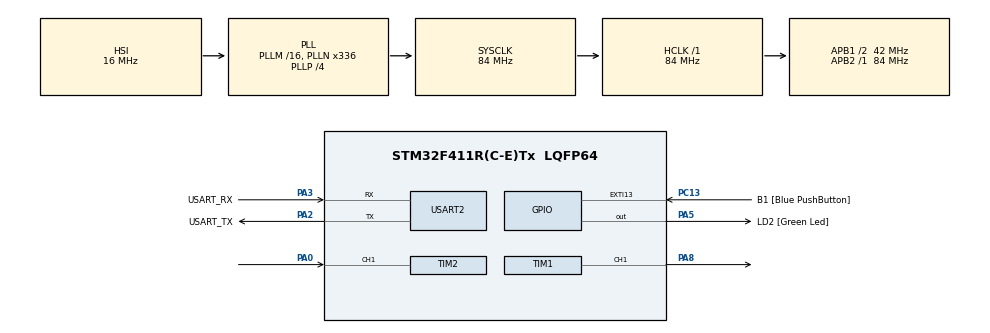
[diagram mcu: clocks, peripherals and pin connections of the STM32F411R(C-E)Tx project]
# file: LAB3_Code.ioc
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Dma.Request0=TIM2_CH1
Dma.TIM2_CH1.0.Direction=DMA_PERIPH_TO_MEMORY
Dma.TIM2_CH1.0.FIFOMode=DMA_FIFOMODE_DISABLE
Dma.TIM2_CH1.0.Instance=DMA1_Stream5
Dma.TIM2_CH1.0.MemDataAlignment=DMA_MDATAALIGN_WORD
Dma.TIM2_CH1.0.MemInc=DMA_MINC_ENABLE
Dma.TIM2_CH1.0.Mode=DMA_CIRCULAR
Dma.TIM2_CH1.0.PeriphDataAlignment=DMA_PDATAALIGN_WORD
Dma.TIM2_CH1.0.PeriphInc=DMA_PINC_DISABLE
Dma.TIM2_CH1.0.Priority=DMA_PRIORITY_LOW
Mcu.Family=STM32F4
Mcu.Name=STM32F411R(C-E)Tx
Mcu.Package=LQFP64
NVIC.DMA1_Stream5_IRQn=true\:0\:0\:false\:false\:true\:false\:true\:true
NVIC.PriorityGroup=NVIC_PRIORITYGROUP_0
PA0-WKUP.Signal=S_TIM2_CH1_ETR
PA13.GPIO_Label=TMS
PA13.Mode=Serial_Wire
PA13.Signal=SYS_JTMS-SWDIO
PA14.GPIO_Label=TCK
PA14.Mode=Serial_Wire
PA14.Signal=SYS_JTCK-SWCLK
PA2.GPIO_Label=USART_TX
PA2.Mode=Asynchronous
PA2.Signal=USART2_TX
PA3.GPIO_Label=USART_RX
PA3.Mode=Asynchronous
PA3.Signal=USART2_RX
PA5.GPIO_Label=LD2 [Green Led]
PA5.Signal=GPIO_Output
PA8.Signal=S_TIM1_CH1
PB3.GPIO_Label=SWO
PB3.Signal=SYS_JTDO-SWO
PC13-ANTI_TAMP.GPIO_Label=B1 [Blue PushButton]
PC13-ANTI_TAMP.GPIO_ModeDefaultEXTI=GPIO_MODE_IT_FALLING
PC13-ANTI_TAMP.Signal=GPXTI13
PC14-OSC32_IN.Mode=LSE-External-Oscillator
PC14-OSC32_IN.Signal=RCC_OSC32_IN
PC15-OSC32_OUT.Mode=LSE-External-Oscillator
PC15-OSC32_OUT.Signal=RCC_OSC32_OUT
PH0\ -\ OSC_IN.Mode=HSE-External-Clock-Source
PH0\ -\ OSC_IN.Signal=RCC_OSC_IN
PH1\ -\ OSC_OUT.Mode=HSE-External-Clock-Source
PH1\ -\ OSC_OUT.Signal=RCC_OSC_OUT
ProjectManager.HeapSize=0x200
ProjectManager.StackSize=0x400
ProjectManager.TargetToolchain=STM32CubeIDE
RCC.48MHZClocksFreq_Value=84000000
RCC.AHBFreq_Value=84000000
RCC.APB1CLKDivider=RCC_HCLK_DIV2
RCC.APB1Freq_Value=42000000
RCC.APB1TimFreq_Value=84000000
RCC.APB2Freq_Value=84000000
RCC.APB2TimFreq_Value=84000000
RCC.CortexFreq_Value=84000000
RCC.FLatency-AdvancedSettings=FLASH_LATENCY_2
RCC.HCLKFreq_Value=84000000
RCC.HSE_VALUE=8000000
RCC.HSI_VALUE=16000000
RCC.PLLN=336
RCC.PLLP=RCC_PLLP_DIV4
RCC.SYSCLKFreq_VALUE=84000000
RCC.SYSCLKSource=RCC_SYSCLKSOURCE_PLLCLK
RCC.VCOOutputFreq_Value=336000000
SH.S_TIM1_CH1.0=TIM1_CH1,PWM Generation1 CH1
SH.S_TIM2_CH1_ETR.0=TIM2_CH1,Input_Capture1_from_TI1
TIM1.Channel-PWM\ Generation1\ CH1=TIM_CHANNEL_1
TIM1.Period=999
TIM1.Prescaler=83
TIM1.Pulse-PWM\ Generation1\ CH1=500
TIM2.Channel-Input_Capture1_from_TI1=TIM_CHANNEL_1
TIM2.Prescaler=83
USART2.VirtualMode=VM_ASYNC
VP_TIM1_VS_ClockSourceINT.Mode=Internal
VP_TIM2_VS_ClockSourceINT.Mode=Internal
board=NUCLEO-F411RE

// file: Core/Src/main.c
/* USER CODE BEGIN Header */
/**
  ******************************************************************************
  * @file           : main.c
  * @brief          : Main program body
  ******************************************************************************
  * @attention
  *
  * Copyright (c) 2023 STMicroelectronics.
  * All rights reserved.
  *
  * This software is licensed under terms that can be found in the LICENSE file
  * in the root directory of this software component.
  * If no LICENSE file comes with this software, it is provided AS-IS.
  *
  ******************************************************************************
  */
/* USER CODE END Header */
#include "main.h"

/* USER CODE BEGIN Includes */
#define IC_BUFFER_SIZE 20
/* USER CODE END Includes */

TIM_HandleTypeDef htim1;
TIM_HandleTypeDef htim2;
DMA_HandleTypeDef hdma_tim2_ch1;

UART_HandleTypeDef huart2;

/* USER CODE BEGIN PV */
uint32_t InputCaptureBuffer[IC_BUFFER_SIZE];
uint8_t MotorSetDuty = 0;
float MotorSetRPM = 0;
float MotorReadRPM = 0;
uint8_t MotorControlEnable = 0;
uint16_t Pulse_Compare = 0;

enum LAB3_state {Initial , Uncontrol, Control};
enum LAB3_state state;

/* USER CODE END PV */

void SystemClock_Config(void);
static void MX_GPIO_Init(void);
static void MX_DMA_Init(void);
static void MX_USART2_UART_Init(void);
static void MX_TIM2_Init(void);
static void MX_TIM1_Init(void);
/* USER CODE BEGIN PFP */
float IC_Calc_Period();
/* USER CODE END PFP */

int main(void)
{

  /* MCU Configuration--------------------------------------------------------*/

  /* Reset of all peripherals, Initializes the Flash interface and the Systick. */
  HAL_Init();

  /* Configure the system clock */
  SystemClock_Config();

  /* Initialize all configured peripherals */
  MX_GPIO_Init();
  MX_DMA_Init();
  MX_USART2_UART_Init();
  MX_TIM2_Init();
  MX_TIM1_Init();
  /* USER CODE BEGIN 2 */
  HAL_TIM_Base_Start(&htim2);
  HAL_TIM_IC_Start_DMA(&htim2, TIM_CHANNEL_1, InputCaptureBuffer, IC_BUFFER_SIZE);

  HAL_TIM_Base_Start(&htim1);
  HAL_TIM_PWM_Start(&htim1, TIM_CHANNEL_1);

  state = Initial;
	/* USER CODE END 2 */

  /* Infinite loop */
  while (1)
  {

    /* USER CODE BEGIN 3 */
	  static uint32_t timestamp = 0;
	  if(HAL_GetTick() >= timestamp){
		  timestamp = HAL_GetTick() + 500; // 2hz

		  switch (state) {
			case Initial:

				if(MotorControlEnable == 0) state = Uncontrol;
				else if(MotorControlEnable == 1) state = Control;

				break;
			case Uncontrol:

				Pulse_Compare = MotorSetDuty * 10;
				__HAL_TIM_SET_COMPARE(&htim1,TIM_CHANNEL_1,Pulse_Compare);
				MotorReadRPM = 60 / (IC_Calc_Period() * 0.000001*768);

				if(MotorControlEnable == 1) state = Control;
				break;
			case Control:
				MotorReadRPM = 60 / (IC_Calc_Period() * 0.000001*768);
				if(MotorReadRPM > MotorSetRPM * 1.02){ //too fast
					Pulse_Compare = Pulse_Compare - 10; // reduce 1% of PWM
					__HAL_TIM_SET_COMPARE(&htim1,TIM_CHANNEL_1,Pulse_Compare);
				}
				else if(MotorReadRPM < MotorSetRPM * 0.98){ // too slow
					Pulse_Compare = Pulse_Compare + 10; //increase 1% of PWM
					__HAL_TIM_SET_COMPARE(&htim1,TIM_CHANNEL_1,Pulse_Compare);
				}

				if(MotorControlEnable == 0) state = Uncontrol;
				break;
		}
	  }
  }
  /* USER CODE END 3 */
}

void SystemClock_Config(void)
{
  RCC_OscInitTypeDef RCC_OscInitStruct = {0};
  RCC_ClkInitTypeDef RCC_ClkInitStruct = {0};

  /** Configure the main internal regulator output voltage
  */
  __HAL_RCC_PWR_CLK_ENABLE();
  __HAL_PWR_VOLTAGESCALING_CONFIG(PWR_REGULATOR_VOLTAGE_SCALE1);

  /** Initializes the RCC Oscillators according to the specified parameters
  * in the RCC_OscInitTypeDef structure.
  */
  RCC_OscInitStruct.OscillatorType = RCC_OSCILLATORTYPE_HSI;
  RCC_OscInitStruct.HSIState = RCC_HSI_ON;
  RCC_OscInitStruct.HSICalibrationValue = RCC_HSICALIBRATION_DEFAULT;
  RCC_OscInitStruct.PLL.PLLState = RCC_PLL_ON;
  RCC_OscInitStruct.PLL.PLLSource = RCC_PLLSOURCE_HSI;
  RCC_OscInitStruct.PLL.PLLM = 16;
  RCC_OscInitStruct.PLL.PLLN = 336;
  RCC_OscInitStruct.PLL.PLLP = RCC_PLLP_DIV4;
  RCC_OscInitStruct.PLL.PLLQ = 4;
  if (HAL_RCC_OscConfig(&RCC_OscInitStruct) != HAL_OK)
  {
    Error_Handler();
  }

  /** Initializes the CPU, AHB and APB buses clocks
  */
  RCC_ClkInitStruct.ClockType = RCC_CLOCKTYPE_HCLK|RCC_CLOCKTYPE_SYSCLK
                              |RCC_CLOCKTYPE_PCLK1|RCC_CLOCKTYPE_PCLK2;
  RCC_ClkInitStruct.SYSCLKSource = RCC_SYSCLKSOURCE_PLLCLK;
  RCC_ClkInitStruct.AHBCLKDivider = RCC_SYSCLK_DIV1;
  RCC_ClkInitStruct.APB1CLKDivider = RCC_HCLK_DIV2;
  RCC_ClkInitStruct.APB2CLKDivider = RCC_HCLK_DIV1;

  if (HAL_RCC_ClockConfig(&RCC_ClkInitStruct, FLASH_LATENCY_2) != HAL_OK)
  {
    Error_Handler();
  }
}

static void MX_TIM1_Init(void)
{

  TIM_ClockConfigTypeDef sClockSourceConfig = {0};
  TIM_MasterConfigTypeDef sMasterConfig = {0};
  TIM_OC_InitTypeDef sConfigOC = {0};
  TIM_BreakDeadTimeConfigTypeDef sBreakDeadTimeConfig = {0};

  htim1.Instance = TIM1;
  htim1.Init.Prescaler = 83;
  htim1.Init.CounterMode = TIM_COUNTERMODE_UP;
  htim1.Init.Period = 999;
  htim1.Init.ClockDivision = TIM_CLOCKDIVISION_DIV1;
  htim1.Init.RepetitionCounter = 0;
  htim1.Init.AutoReloadPreload = TIM_AUTORELOAD_PRELOAD_DISABLE;
  if (HAL_TIM_Base_Init(&htim1) != HAL_OK)
  {
    Error_Handler();
  }
  sClockSourceConfig.ClockSource = TIM_CLOCKSOURCE_INTERNAL;
  if (HAL_TIM_ConfigClockSource(&htim1, &sClockSourceConfig) != HAL_OK)
  {
    Error_Handler();
  }
  if (HAL_TIM_PWM_Init(&htim1) != HAL_OK)
  {
    Error_Handler();
  }
  sMasterConfig.MasterOutputTrigger = TIM_TRGO_RESET;
  sMasterConfig.MasterSlaveMode = TIM_MASTERSLAVEMODE_DISABLE;
  if (HAL_TIMEx_MasterConfigSynchronization(&htim1, &sMasterConfig) != HAL_OK)
  {
    Error_Handler();
  }
  sConfigOC.OCMode = TIM_OCMODE_PWM1;
  sConfigOC.Pulse = 500;
  sConfigOC.OCPolarity = TIM_OCPOLARITY_HIGH;
  sConfigOC.OCNPolarity = TIM_OCNPOLARITY_HIGH;
  sConfigOC.OCFastMode = TIM_OCFAST_DISABLE;
  sConfigOC.OCIdleState = TIM_OCIDLESTATE_RESET;
  sConfigOC.OCNIdleState = TIM_OCNIDLESTATE_RESET;
  if (HAL_TIM_PWM_ConfigChannel(&htim1, &sConfigOC, TIM_CHANNEL_1) != HAL_OK)
  {
    Error_Handler();
  }
  sBreakDeadTimeConfig.OffStateRunMode = TIM_OSSR_DISABLE;
  sBreakDeadTimeConfig.OffStateIDLEMode = TIM_OSSI_DISABLE;
  sBreakDeadTimeConfig.LockLevel = TIM_LOCKLEVEL_OFF;
  sBreakDeadTimeConfig.DeadTime = 0;
  sBreakDeadTimeConfig.BreakState = TIM_BREAK_DISABLE;
  sBreakDeadTimeConfig.BreakPolarity = TIM_BREAKPOLARITY_HIGH;
  sBreakDeadTimeConfig.AutomaticOutput = TIM_AUTOMATICOUTPUT_DISABLE;
  if (HAL_TIMEx_ConfigBreakDeadTime(&htim1, &sBreakDeadTimeConfig) != HAL_OK)
  {
    Error_Handler();
  }
  HAL_TIM_MspPostInit(&htim1);

}

static void MX_TIM2_Init(void)
{

  TIM_ClockConfigTypeDef sClockSourceConfig = {0};
  TIM_MasterConfigTypeDef sMasterConfig = {0};
  TIM_IC_InitTypeDef sConfigIC = {0};

  htim2.Instance = TIM2;
  htim2.Init.Prescaler = 83;
  htim2.Init.CounterMode = TIM_COUNTERMODE_UP;
  htim2.Init.Period = 4294967295;
  htim2.Init.ClockDivision = TIM_CLOCKDIVISION_DIV1;
  htim2.Init.AutoReloadPreload = TIM_AUTORELOAD_PRELOAD_DISABLE;
  if (HAL_TIM_Base_Init(&htim2) != HAL_OK)
  {
    Error_Handler();
  }
  sClockSourceConfig.ClockSource = TIM_CLOCKSOURCE_INTERNAL;
  if (HAL_TIM_ConfigClockSource(&htim2, &sClockSourceConfig) != HAL_OK)
  {
    Error_Handler();
  }
  if (HAL_TIM_IC_Init(&htim2) != HAL_OK)
  {
    Error_Handler();
  }
  sMasterConfig.MasterOutputTrigger = TIM_TRGO_RESET;
  sMasterConfig.MasterSlaveMode = TIM_MASTERSLAVEMODE_DISABLE;
  if (HAL_TIMEx_MasterConfigSynchronization(&htim2, &sMasterConfig) != HAL_OK)
  {
    Error_Handler();
  }
  sConfigIC.ICPolarity = TIM_INPUTCHANNELPOLARITY_RISING;
  sConfigIC.ICSelection = TIM_ICSELECTION_DIRECTTI;
  sConfigIC.ICPrescaler = TIM_ICPSC_DIV1;
  sConfigIC.ICFilter = 0;
  if (HAL_TIM_IC_ConfigChannel(&htim2, &sConfigIC, TIM_CHANNEL_1) != HAL_OK)
  {
    Error_Handler();
  }

}

static void MX_USART2_UART_Init(void)
{

  huart2.Instance = USART2;
  huart2.Init.BaudRate = 115200;
  huart2.Init.WordLength = UART_WORDLENGTH_8B;
  huart2.Init.StopBits = UART_STOPBITS_1;
  huart2.Init.Parity = UART_PARITY_NONE;
  huart2.Init.Mode = UART_MODE_TX_RX;
  huart2.Init.HwFlowCtl = UART_HWCONTROL_NONE;
  huart2.Init.OverSampling = UART_OVERSAMPLING_16;
  if (HAL_UART_Init(&huart2) != HAL_OK)
  {
    Error_Handler();
  }

}

static void MX_DMA_Init(void)
{

  /* DMA controller clock enable */
  __HAL_RCC_DMA1_CLK_ENABLE();

  /* DMA interrupt init */
  /* DMA1_Stream5_IRQn interrupt configuration */
  HAL_NVIC_SetPriority(DMA1_Stream5_IRQn, 0, 0);
  HAL_NVIC_EnableIRQ(DMA1_Stream5_IRQn);

}

static void MX_GPIO_Init(void)
{
  GPIO_InitTypeDef GPIO_InitStruct = {0};

  /* GPIO Ports Clock Enable */
  __HAL_RCC_GPIOC_CLK_ENABLE();
  __HAL_RCC_GPIOH_CLK_ENABLE();
  __HAL_RCC_GPIOA_CLK_ENABLE();
  __HAL_RCC_GPIOB_CLK_ENABLE();

  /*Configure GPIO pin Output Level */
  HAL_GPIO_WritePin(LD2_GPIO_Port, LD2_Pin, GPIO_PIN_RESET);

  /*Configure GPIO pin : B1_Pin */
  GPIO_InitStruct.Pin = B1_Pin;
  GPIO_InitStruct.Mode = GPIO_MODE_IT_FALLING;
  GPIO_InitStruct.Pull = GPIO_NOPULL;
  HAL_GPIO_Init(B1_GPIO_Port, &GPIO_InitStruct);

  /*Configure GPIO pin : LD2_Pin */
  GPIO_InitStruct.Pin = LD2_Pin;
  GPIO_InitStruct.Mode = GPIO_MODE_OUTPUT_PP;
  GPIO_InitStruct.Pull = GPIO_NOPULL;
  GPIO_InitStruct.Speed = GPIO_SPEED_FREQ_LOW;
  HAL_GPIO_Init(LD2_GPIO_Port, &GPIO_InitStruct);

}

/* USER CODE BEGIN 4 */
float IC_Calc_Period()
{
	uint32_t currentDMApointer = IC_BUFFER_SIZE - __HAL_DMA_GET_COUNTER((htim2.hdma[1]));
	uint32_t lastValidDMApointer = (currentDMApointer -1 + IC_BUFFER_SIZE) % IC_BUFFER_SIZE;
	uint32_t i = (lastValidDMApointer +  IC_BUFFER_SIZE - 5) % IC_BUFFER_SIZE;

	int32_t sumdiff = 0;
	while (i != lastValidDMApointer)
	{
		uint32_t firstCapture = InputCaptureBuffer[i] ;

		uint32_t nextCapture = InputCaptureBuffer[(i+1)%IC_BUFFER_SIZE];
		sumdiff += nextCapture - firstCapture ;
		i = (i+1) % IC_BUFFER_SIZE;
	}
	return sumdiff/ 5.0;
}
/* USER CODE END 4 */

void Error_Handler(void)
{
  __disable_irq();
  while (1)
  {
  }
}
